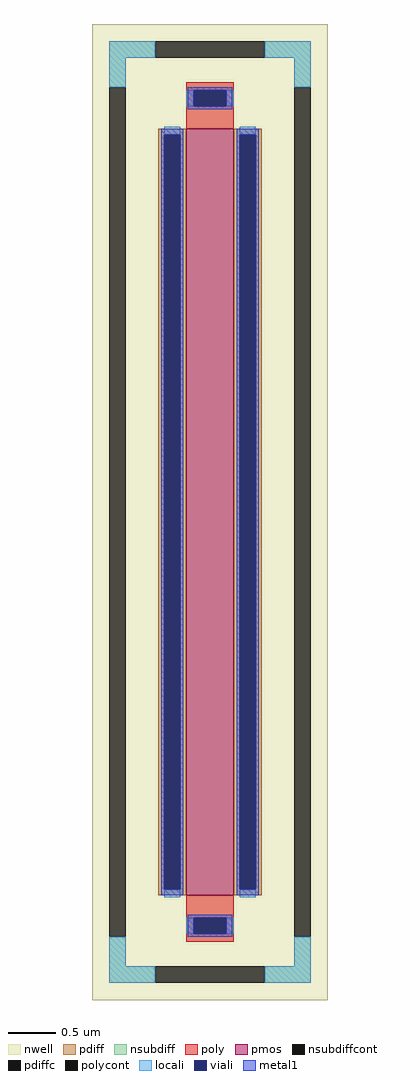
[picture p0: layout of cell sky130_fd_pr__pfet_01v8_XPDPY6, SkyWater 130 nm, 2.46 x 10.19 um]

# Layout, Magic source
magic
tech sky130A
magscale 1 2
<< nwell >>
rect -246 -1019 246 1019
<< pmos >>
rect -50 -800 50 800
<< pdiff >>
rect -108 788 -50 800
rect -108 -788 -96 788
rect -62 -788 -50 788
rect -108 -800 -50 -788
rect 50 788 108 800
rect 50 -788 62 788
rect 96 -788 108 788
rect 50 -800 108 -788
<< pdiffc >>
rect -96 -788 -62 788
rect 62 -788 96 788
<< nsubdiff >>
rect -210 949 -114 983
rect 114 949 210 983
rect -210 887 -176 949
rect 176 887 210 949
rect -210 -949 -176 -887
rect 176 -949 210 -887
rect -210 -983 -114 -949
rect 114 -983 210 -949
<< nsubdiffcont >>
rect -114 949 114 983
rect -210 -887 -176 887
rect 176 -887 210 887
rect -114 -983 114 -949
<< poly >>
rect -50 881 50 897
rect -50 847 -34 881
rect 34 847 50 881
rect -50 800 50 847
rect -50 -847 50 -800
rect -50 -881 -34 -847
rect 34 -881 50 -847
rect -50 -897 50 -881
<< polycont >>
rect -34 847 34 881
rect -34 -881 34 -847
<< locali >>
rect -210 949 -114 983
rect 114 949 210 983
rect -210 887 -176 949
rect 176 887 210 949
rect -50 847 -34 881
rect 34 847 50 881
rect -96 788 -62 804
rect -96 -804 -62 -788
rect 62 788 96 804
rect 62 -804 96 -788
rect -50 -881 -34 -847
rect 34 -881 50 -847
rect -210 -949 -176 -887
rect 176 -949 210 -887
rect -210 -983 -114 -949
rect 114 -983 210 -949
<< viali >>
rect -34 847 34 881
rect -96 -788 -62 788
rect 62 -788 96 788
rect -34 -881 34 -847
<< metal1 >>
rect -46 881 46 887
rect -46 847 -34 881
rect 34 847 46 881
rect -46 841 46 847
rect -102 788 -56 800
rect -102 -788 -96 788
rect -62 -788 -56 788
rect -102 -800 -56 -788
rect 56 788 102 800
rect 56 -788 62 788
rect 96 -788 102 788
rect 56 -800 102 -788
rect -46 -847 46 -841
rect -46 -881 -34 -847
rect 34 -881 46 -847
rect -46 -887 46 -881
<< properties >>
string FIXED_BBOX -193 -966 193 966
string gencell sky130_fd_pr__pfet_01v8
string library sky130
string parameters w 8.0 l 0.5 m 1 nf 1 diffcov 100 polycov 100 guard 1 glc 1 grc 1 gtc 1 gbc 1 tbcov 100 rlcov 100 topc 1 botc 1 poverlap 0 doverlap 1 lmin 0.15 wmin 0.42 compatible {sky130_fd_pr__pfet_01v8  sky130_fd_pr__pfet_01v8_lvt sky130_fd_pr__pfet_01v8_hvt  sky130_fd_pr__pfet_g5v0d10v5} full_metal 1 viasrc 100 viadrn 100 viagate 100 viagb 0 viagr 0 viagl 0 viagt 0
<< end >>
